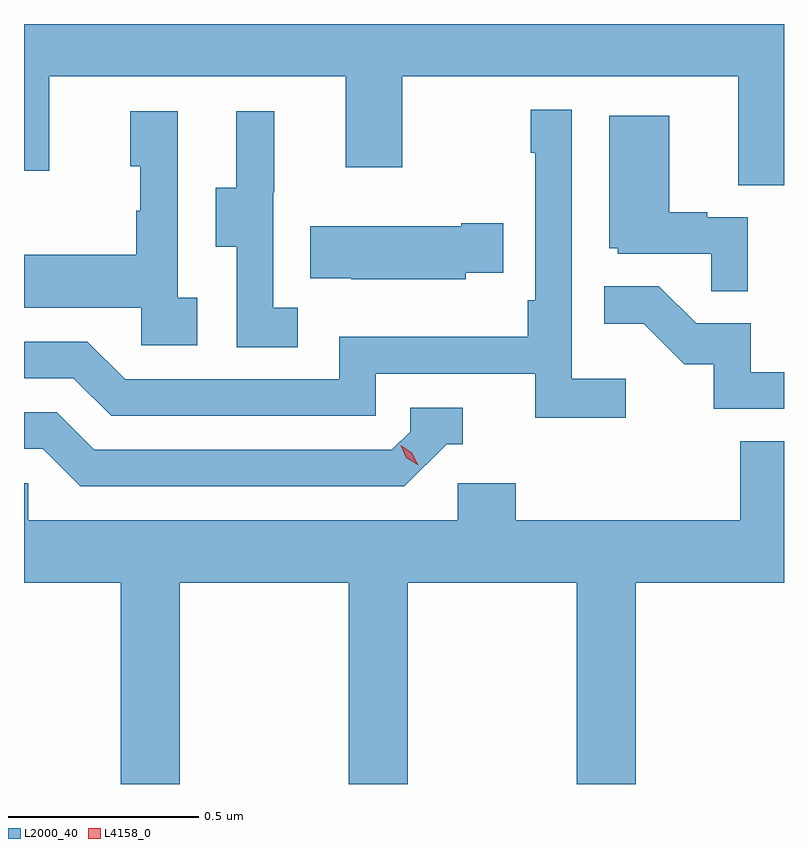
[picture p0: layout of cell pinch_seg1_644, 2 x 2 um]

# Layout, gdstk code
import gdstk
lib = gdstk.Library(unit=1e-6, precision=1e-09)
def P(c, l, *ps):  # polygons
    for p in ps: c.add(gdstk.Polygon(p, *l))
L2000_40 = (2000, 40)
L4158_0 = (4158, 0)

pinch_seg1_644 = lib.new_cell('pinch_seg1_644')
P(pinch_seg1_644, L2000_40, [(1082.22,505.25),(1080.22,505.25),(1080.22,504.864),(1080.287,504.864),(1080.287,505.112),(1081.067,505.112),(1081.067,504.873),(1081.215,504.873),(1081.215,505.112),(1082.099,505.112),(1082.099,504.826),(1082.22,504.826)],
  [(1081.804,504.316),(1081.662,504.316),(1081.662,505.024),(1081.554,505.024),(1081.554,504.911),(1081.566,504.911),(1081.566,504.523),(1081.546,504.523),(1081.546,504.427),(1081.05,504.427),(1081.05,504.315),(1080.486,504.315),(1080.387,504.414),(1080.22,504.414),(1080.22,504.318),(1080.35,504.318),(1080.449,504.219),(1081.146,504.219),(1081.146,504.33),(1081.565,504.33),(1081.565,504.214),(1081.804,504.214)],
  [(1080.94,504.503),(1080.876,504.503),(1080.876,504.807),(1080.878,504.807),(1080.878,505.021),(1080.779,505.021),(1080.779,504.819),(1080.725,504.819),(1080.725,504.664),(1080.78,504.664),(1080.78,504.4),(1080.94,504.4)],
  [(1080.676,504.53),(1080.624,504.53),(1080.624,505.021),(1080.5,505.021),(1080.5,504.876),(1080.526,504.876),(1080.526,504.758),(1080.516,504.758),(1080.516,504.643),(1080.22,504.643),(1080.22,504.503),(1080.528,504.503),(1080.528,504.405),(1080.676,504.405)],
  [(1082.124,504.741),(1082.018,504.741),(1082.018,504.754),(1081.918,504.754),(1081.918,505.009),(1081.76,505.009),(1081.76,504.66),(1081.782,504.66),(1081.782,504.645),(1082.029,504.645),(1082.029,504.547),(1082.124,504.547)],
  [(1081.383,504.596),(1081.481,504.596),(1081.481,504.726),(1081.37,504.726),(1081.37,504.718),(1080.973,504.718),(1080.973,504.581),(1081.081,504.581),(1081.081,504.578),(1081.383,504.578)],
  [(1082.22,504.333),(1082.133,504.333),(1082.133,504.462),(1081.989,504.462),(1081.891,504.56),(1081.747,504.56),(1081.747,504.461),(1081.851,504.461),(1081.958,504.354),(1082.035,504.354),(1082.035,504.237),(1082.22,504.237)],
  [(1081.332,504.144),(1081.375,504.144),(1081.375,504.24),(1081.236,504.24),(1081.236,504.177),(1081.188,504.129),(1080.405,504.129),(1080.306,504.228),(1080.22,504.228),(1080.22,504.132),(1080.269,504.132),(1080.368,504.033),(1081.221,504.033)],
  [(1080.63,503.78),(1081.075,503.78),(1081.075,503.25),(1081.23,503.25),(1081.23,503.78),(1081.675,503.78),(1081.675,503.25),(1081.83,503.25),(1081.83,503.78),(1082.22,503.78),(1082.22,504.152),(1082.105,504.152),(1082.105,503.944),(1081.514,503.944),(1081.514,504.042),(1081.362,504.042),(1081.362,503.944),(1080.231,503.944),(1080.231,504.042),(1080.22,504.042),(1080.22,503.78),(1080.475,503.78),(1080.475,503.25),(1080.63,503.25)])
P(pinch_seg1_644, L4158_0, [(1081.257,504.089),(1081.226,504.109),(1081.211,504.141),(1081.211,504.142),(1081.211,504.142),(1081.241,504.122),(1081.257,504.089),(1081.257,504.089)])

lib.write_gds('pinch_seg1_644.gds')
